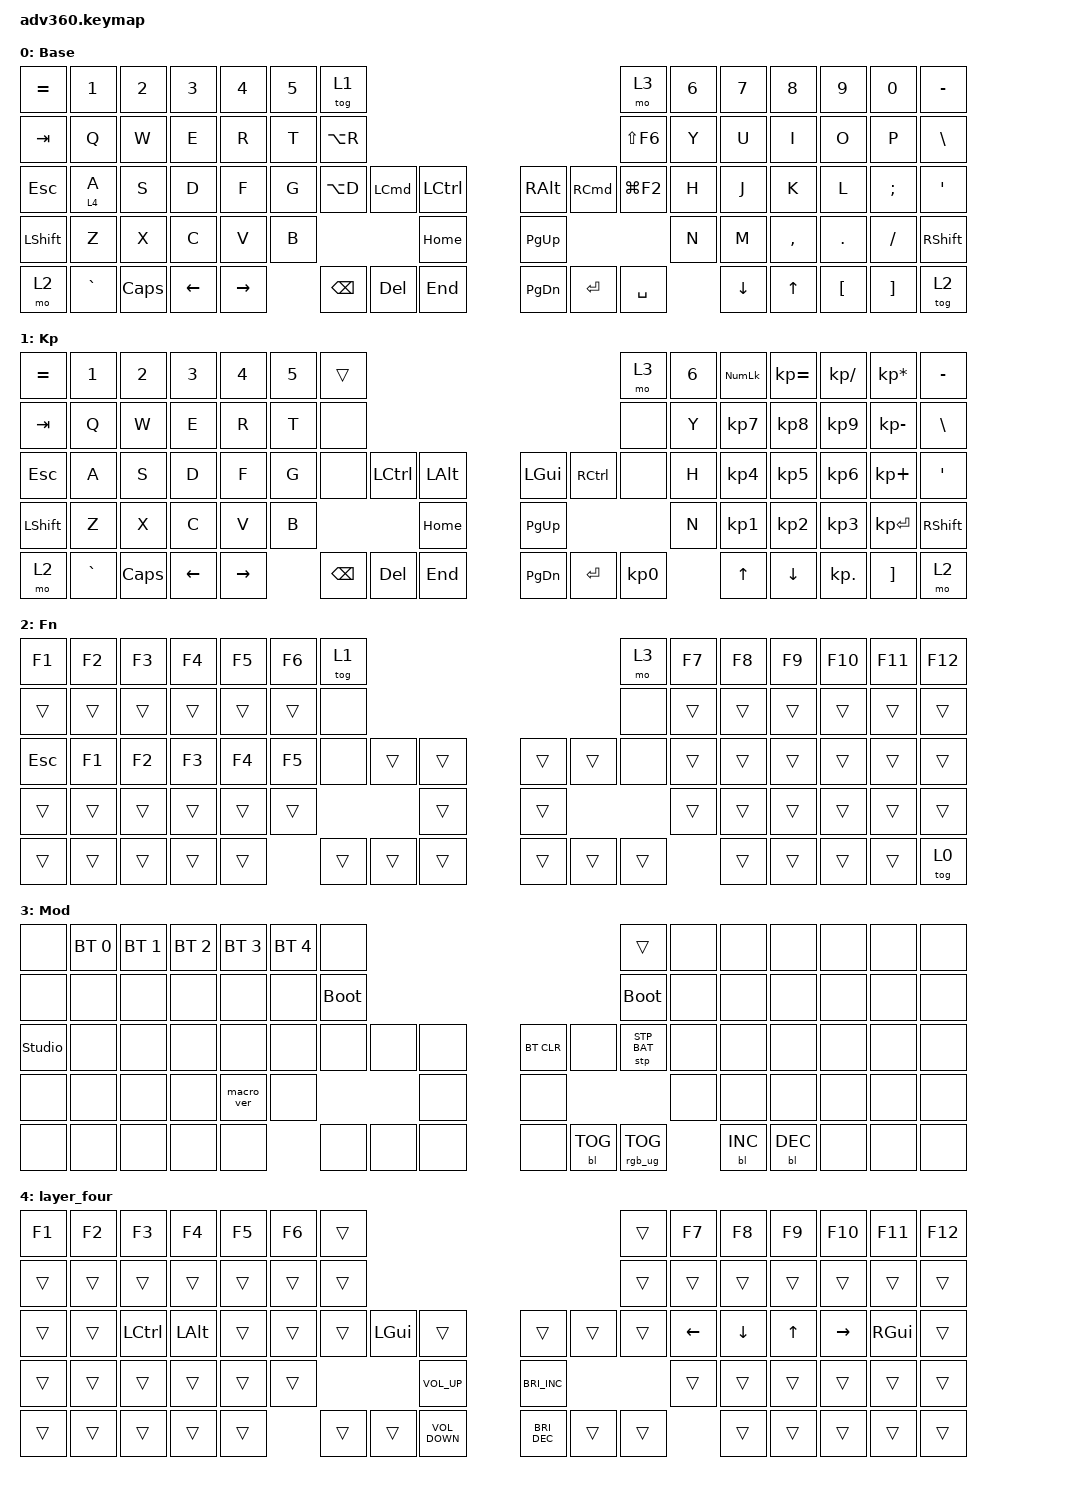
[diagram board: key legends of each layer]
#include <dt-bindings/zmk/stp.h>
#include <behaviors.dtsi>
#include <dt-bindings/zmk/backlight.h>
#include <dt-bindings/zmk/bt.h>
#include <dt-bindings/zmk/keys.h>
#include <dt-bindings/zmk/rgb.h>

/ {
    behaviors {
        #include "macros.dtsi"
      #include "version.dtsi"

        hm: homerow_mods {
            compatible = "zmk,behavior-hold-tap";
            label = "HOMEROW_MODS";
            #binding-cells = <2>;
            tapping-term-ms = <200>;
            quick_tap_ms = <175>;
            flavor = "tap-preferred";
            bindings = <&kp>, <&kp>;
        };

        layer_four_switch: layer_four_switch {
            compatible = "zmk,behavior-hold-tap";
            label = "LAYER_FOUR_SWITCH";
            bindings = <&mo>, <&kp>;

            #binding-cells = <2>;
            flavor = "balanced";
            tapping-term-ms = <280>;
            quick-tap-ms = <175>;
            require-prior-idle-ms = <150>;
            hold-trigger-on-release;
            hold-trigger-key-positions = <29>;
        };
    };

    keymap {
        compatible = "zmk,keymap";

        default_layer {
            display-name = "Base";
            bindings = <
&kp EQUAL  &kp N1                  &kp N2    &kp N3    &kp N4     &kp N5  &tog 1                                                               &mo 3       &kp N6  &kp N7    &kp N8     &kp N9    &kp N0    &kp MINUS
&kp TAB    &kp Q                   &kp W     &kp E     &kp R      &kp T   &kp LA(R)                                                            &kp LS(F6)  &kp Y   &kp U     &kp I      &kp O     &kp P     &kp BSLH
&kp ESC    &layer_four_switch 4 A  &kp S     &kp D     &kp F      &kp G   &kp LA(D)  &kp LCMD  &kp LEFT_CONTROL      &kp RIGHT_ALT  &kp RCMD   &kp LG(F2)  &kp H   &kp J     &kp K      &kp L     &kp SEMI  &kp SQT
&kp LSHFT  &kp Z                   &kp X     &kp C     &kp V      &kp B                        &kp HOME              &kp PG_UP                             &kp N   &kp M     &kp COMMA  &kp DOT   &kp FSLH  &kp RSHFT
&mo 2      &kp GRAVE               &kp CAPS  &kp LEFT  &kp RIGHT          &kp BSPC   &kp DEL   &kp END               &kp PG_DN      &kp ENTER  &kp SPACE           &kp DOWN  &kp UP     &kp LBKT  &kp RBKT  &tog 2
            >;
        };

        keypad {
            display-name = "Kp";
            bindings = <
&kp EQUAL  &kp N1     &kp N2    &kp N3    &kp N4     &kp N5  &trans                                                   &mo 3      &kp N6  &kp KP_NUM  &kp KP_EQUAL  &kp KP_DIVIDE  &kp KP_MULTIPLY  &kp MINUS
&kp TAB    &kp Q      &kp W     &kp E     &kp R      &kp T   &none                                                    &none      &kp Y   &kp KP_N7   &kp KP_N8     &kp KP_N9      &kp KP_MINUS     &kp BSLH
&kp ESC    &kp A      &kp S     &kp D     &kp F      &kp G   &none     &kp LCTRL  &kp LALT      &kp LGUI   &kp RCTRL  &none      &kp H   &kp KP_N4   &kp KP_N5     &kp KP_N6      &kp KP_PLUS      &kp SQT
&kp LSHFT  &kp Z      &kp X     &kp C     &kp V      &kp B                        &kp HOME      &kp PG_UP                        &kp N   &kp KP_N1   &kp KP_N2     &kp KP_N3      &kp KP_ENTER     &kp RSHFT
&mo 2      &kp GRAVE  &kp CAPS  &kp LEFT  &kp RIGHT          &kp BSPC  &kp DEL    &kp END       &kp PG_DN  &kp ENTER  &kp KP_N0          &kp UP      &kp DOWN      &kp KP_DOT     &kp RBKT         &mo 2
            >;
        };

        fn {
            display-name = "Fn";
            bindings = <
&kp F1   &kp F2  &kp F3  &kp F4  &kp F5  &kp F6  &tog 1                                      &mo 3   &kp F7  &kp F8  &kp F9  &kp F10  &kp F11  &kp F12
&trans   &trans  &trans  &trans  &trans  &trans  &none                                       &none   &trans  &trans  &trans  &trans   &trans   &trans
&kp ESC  &kp F1  &kp F2  &kp F3  &kp F4  &kp F5  &none   &trans  &trans      &trans  &trans  &none   &trans  &trans  &trans  &trans   &trans   &trans
&trans   &trans  &trans  &trans  &trans  &trans                  &trans      &trans                  &trans  &trans  &trans  &trans   &trans   &trans
&trans   &trans  &trans  &trans  &trans          &trans  &trans  &trans      &trans  &trans  &trans          &trans  &trans  &trans   &trans   &tog 0
            >;
        };

        mod {
            display-name = "Mod";
            bindings = <
&none           &bt BT_SEL 0  &bt BT_SEL 1  &bt BT_SEL 2  &bt BT_SEL 3  &bt BT_SEL 4  &none                                                  &trans           &none  &none       &none       &none  &none  &none
&none           &none         &none         &none         &none         &none         &bootloader                                            &bootloader      &none  &none       &none       &none  &none  &none
&studio_unlock  &none         &none         &none         &none         &none         &none        &none  &none      &bt BT_CLR  &none       &stp STP_BAT     &none  &none       &none       &none  &none  &none
&none           &none         &none         &none         &macro_ver    &none                             &none      &none                                    &none  &none       &none       &none  &none  &none
&none           &none         &none         &none         &none                       &none        &none  &none      &none       &bl BL_TOG  &rgb_ug RGB_TOG         &bl BL_INC  &bl BL_DEC  &none  &none  &none
            >;
        };

        layer_four {
            bindings = <
&kp F1  &kp F2  &kp F3            &kp F4        &kp F5  &kp F6  &trans                                                                     &trans  &kp F7    &kp F8    &kp F9  &kp F10    &kp F11        &kp F12
&trans  &trans  &trans            &trans        &trans  &trans  &trans                                                                     &trans  &trans    &trans    &trans  &trans     &trans         &trans
&trans  &trans  &kp LEFT_CONTROL  &kp LEFT_ALT  &trans  &trans  &trans  &kp LEFT_GUI  &trans                 &trans                &trans  &trans  &kp LEFT  &kp DOWN  &kp UP  &kp RIGHT  &kp RIGHT_GUI  &trans
&trans  &trans  &trans            &trans        &trans  &trans                        &kp C_VOLUME_UP        &kp C_BRIGHTNESS_INC                  &trans    &trans    &trans  &trans     &trans         &trans
&trans  &trans  &trans            &trans        &trans          &trans  &trans        &kp C_VOLUME_DOWN      &kp C_BRIGHTNESS_DEC  &trans  &trans            &trans    &trans  &trans     &trans         &trans
            >;
        };

        extra1 {
            display-name = "Red";
            status = "reserved";
        };

        extra2 {
            display-name = "Purple";
            status = "reserved";
        };

        extra3 {
            display-name = "Cyan";
            status = "reserved";
        };
    };
};
